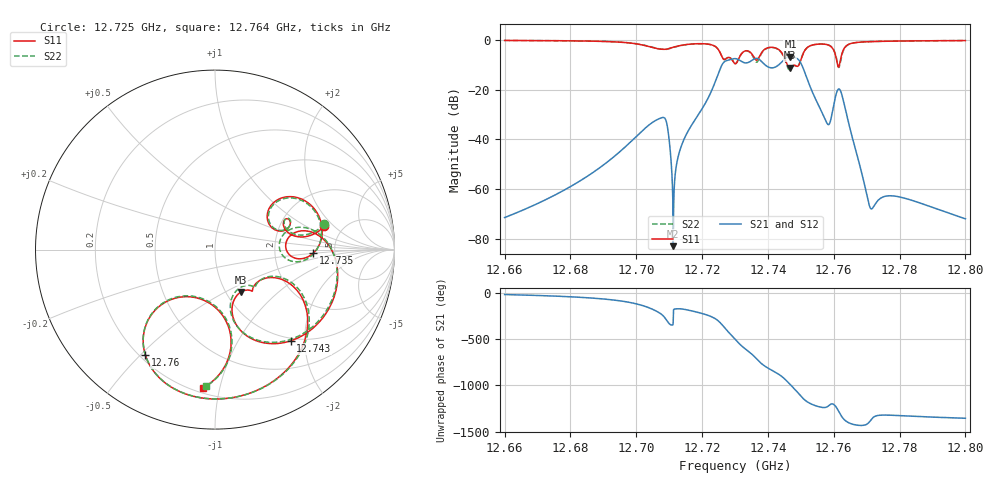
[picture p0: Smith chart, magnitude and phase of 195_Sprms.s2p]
! TOUCHSTONE file generated by CST MICROWAVE STUDIO
! Date and time: Wed Jul 31 20:47:11 2024
! Project name: WaveGuide_BPF-Ver4.1_U-shape_Ku_T3_C4_CWA_2.cst
! Parameters = {cavity_h=16; cavity_l0=10; cavity_l1=15.1837; cavity_l2=16.8708; cavity_l3=17.0665; cavity_l4=17.2272; cavity_l5=17.091; cavity_l6=17.61; cavity_r=2.5; cavity_screw_l=0.5; cavity_screw_r=1.5; cavity_w=8; iris_h00=0; iris_h01=8.8132; iris_h112=0; iris_h12=5.5935; iris_h211=3.6509; iri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
! Header version: 2018
! Port assignment regex: !\s*Touchstone port\s*([0-9]+)\s*=\s*(CST MWS port|CST DS port)\s*([0-9]+|Zmin|Zmax)\s*\(\"(.*)\"\)(\s*mode\s*([0-9]+))?.*
! Touchstone port assignment:
! Touchstone port 1 = CST MWS port 1 ("")
! Touchstone port 2 = CST MWS port 2 ("")
# GHz S RI R 50
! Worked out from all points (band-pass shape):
!   5001 points, 12.66 GHz to 12.8 GHz, reference 50 ohm
!   highest |S21| = -6.66 dB at 12.747 GHz (marker M1); lowest = -83.0 dB at 12.711 GHz (marker M2)
!   |S21| within 3 dB of the highest: 12.72619 GHz to 12.73886 GHz (12.67 MHz wide, 0.0995 % of centre); 12.74356 GHz to 12.75016 GHz (6.605 MHz wide, 0.0518 % of centre)
!   lowest |S11| = -11.1 dB at 12.747 GHz (marker M3), VSWR 1.77, Z = 58.7 - j30 ohm
!   |S11| at or under -10 dB: 12.74586 GHz to 12.74942 GHz (3.56 MHz wide, 0.0279 % of centre); 12.76118 GHz to 12.76172 GHz (546.3 kHz wide, 0.00428 % of centre)
!   |S22| runs from -11.9 to -0.1 dB; largest |S21 - S12| = 1e-09
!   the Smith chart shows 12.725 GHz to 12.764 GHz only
!   S11 on the Smith chart (normalised r, x): 12.725 GHz: 3.61, +1.54; 12.735 GHz: 3.41, -0.20; 12.743 GHz: 0.95, -1.71; 12.76 GHz: 0.22, -0.52; 12.764 GHz: 0.23, -0.89
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12.66  0.257 0.9486  0.000252 -8.82e-05  0.000252 -8.82e-05  0.2557 0.949
12.68335  0.6616 0.6962  0.00098 -0.00117  0.00098 -0.00117  0.6578 0.7005
12.69903  0.8405 -0.1748  -0.00369 -0.00922  -0.00369 -0.00922  0.8497 -0.1505
12.70668  -0.2749 -0.6065  -0.0223 0.0127  -0.0223 0.0127  -0.2199 -0.6331
12.70925  -0.6416 -0.1394  0.0107 0.0184  0.0107 0.0184  -0.6221 -0.1959
12.71124  -0.6592 0.2869  1.24e-05 6.98e-05  1.24e-05 6.98e-05  -0.6711 0.2354
12.71757  0.1143 0.8322  -0.0216 0.00867  -0.0216 0.00867  0.088 0.8321
12.72507  0.6098 0.1305  0.1402 0.1755  0.1402 0.1755  0.6101 0.1442
12.73  0.306 0.1348  -0.3267 -0.2696  -0.3267 -0.2696  0.3116 0.1371
12.7349  0.547 -0.0203  0.1707 0.3403  0.1707 0.3403  0.5315 -0.0399
12.73843  0.5955 0.0653  0.1926 -0.2927  0.1926 -0.2927  0.5773 0.0896
12.74302  0.4212 -0.5084  -0.278 -0.1309  -0.278 -0.1309  0.4194 -0.5007
12.74658  0.1452 -0.236  -0.0448 0.4613  -0.0448 0.4613  0.1443 -0.2096
12.74683  0.1648 -0.2276  0.0306 0.4634  0.0306 0.4634  0.167 -0.2009
12.74893  0.224 -0.1933  0.4199 0.0514  0.4199 0.0514  0.239 -0.1819
12.75335  0.3743 -0.6942  -0.0552 -0.0776  -0.0552 -0.0776  0.3858 -0.6873
12.75951  -0.3887 -0.5857  -0.0174 -0.0287  -0.0174 -0.0287  -0.384 -0.599
12.76158  -0.0448 -0.2906  -0.093 0.0465  -0.093 0.0465  -0.0703 -0.2729
12.76388  -0.0663 -0.7701  0.0214 0.0243  0.0214 0.0243  -0.049 -0.7613
12.77105  -0.6626 -0.6537  0.000249 0.000343  0.000249 0.000343  -0.6584 -0.657
12.77668  -0.8392 -0.445  -0.000335 0.000652  -0.000335 0.000652  -0.8377 -0.4472
12.8  -0.9643 0.1616  2.83e-05 0.00025  2.83e-05 0.00025  -0.9641 0.1625
